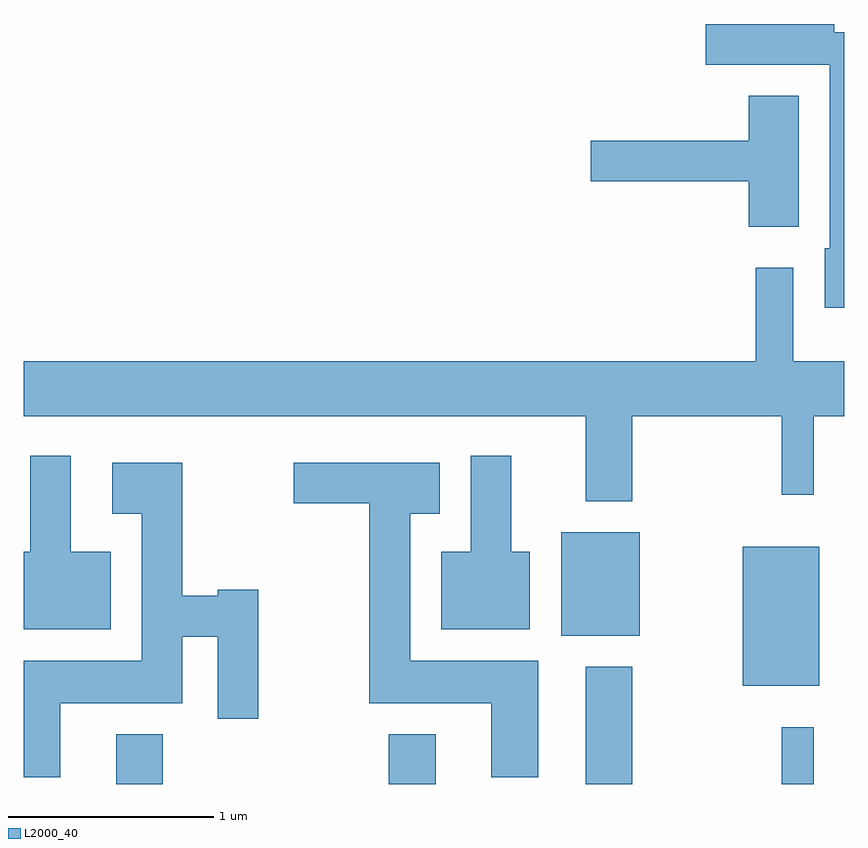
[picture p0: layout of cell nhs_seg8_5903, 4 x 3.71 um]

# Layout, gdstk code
import gdstk
lib = gdstk.Library(unit=1e-6, precision=1e-09)
def R(c, l, rs):  # rectangles x0, y0, x1, y1
    for r in rs: c.add(gdstk.rectangle(r[:2], r[2:], *l))
def P(c, l, *ps):  # polygons
    for p in ps: c.add(gdstk.Polygon(p, *l))
L2000_40 = (2000, 40)

nhs_seg8_5903 = lib.new_cell('nhs_seg8_5903')
R(nhs_seg8_5903, L2000_40, [(362.061,1892.342,362.289,1892.584), (363.391,1892.342,363.619,1892.584), (364.351,1892.342,364.579,1892.914), (365.306,1892.342,365.464,1892.618), (365.116,1892.821,365.489,1893.499), (364.231,1893.066,364.614,1893.569)])
P(nhs_seg8_5903, L2000_40, [(365.611,1896.009),(365.564,1896.009),(365.564,1896.049),(364.936,1896.049),(364.936,1895.851),(365.541,1895.851),(365.541,1894.954),(365.516,1894.954),(365.516,1894.666),(365.611,1894.666)],
  [(365.389,1895.699),(365.146,1895.699),(365.146,1895.479),(364.376,1895.479),(364.376,1895.281),(365.146,1895.281),(365.146,1895.061),(365.389,1895.061)],
  [(364.579,1894.136),(365.306,1894.136),(365.306,1893.753),(365.464,1893.753),(365.464,1894.136),(365.611,1894.136),(365.611,1894.404),(365.364,1894.404),(365.364,1894.859),(365.181,1894.859),(365.181,1894.404),(361.611,1894.404),(361.611,1894.136),(364.351,1894.136),(364.351,1893.721),(364.579,1893.721)],
  [(362.034,1893.474),(361.839,1893.474),(361.839,1893.944),(361.641,1893.944),(361.641,1893.474),(361.611,1893.474),(361.611,1893.096),(362.034,1893.096)],
  [(364.079,1893.474),(363.989,1893.474),(363.989,1893.944),(363.791,1893.944),(363.791,1893.474),(363.646,1893.474),(363.646,1893.096),(364.079,1893.096)],
  [(361.789,1892.736),(362.384,1892.736),(362.384,1893.061),(362.556,1893.061),(362.556,1892.661),(362.754,1892.661),(362.754,1893.289),(362.556,1893.289),(362.556,1893.259),(362.384,1893.259),(362.384,1893.909),(362.041,1893.909),(362.041,1893.661),(362.186,1893.661),(362.186,1892.944),(361.611,1892.944),(361.611,1892.376),(361.789,1892.376)],
  [(364.119,1892.944),(363.494,1892.944),(363.494,1893.661),(363.639,1893.661),(363.639,1893.909),(362.926,1893.909),(362.926,1893.711),(363.296,1893.711),(363.296,1892.736),(363.891,1892.736),(363.891,1892.376),(364.119,1892.376)])

lib.write_gds('nhs_seg8_5903.gds')
